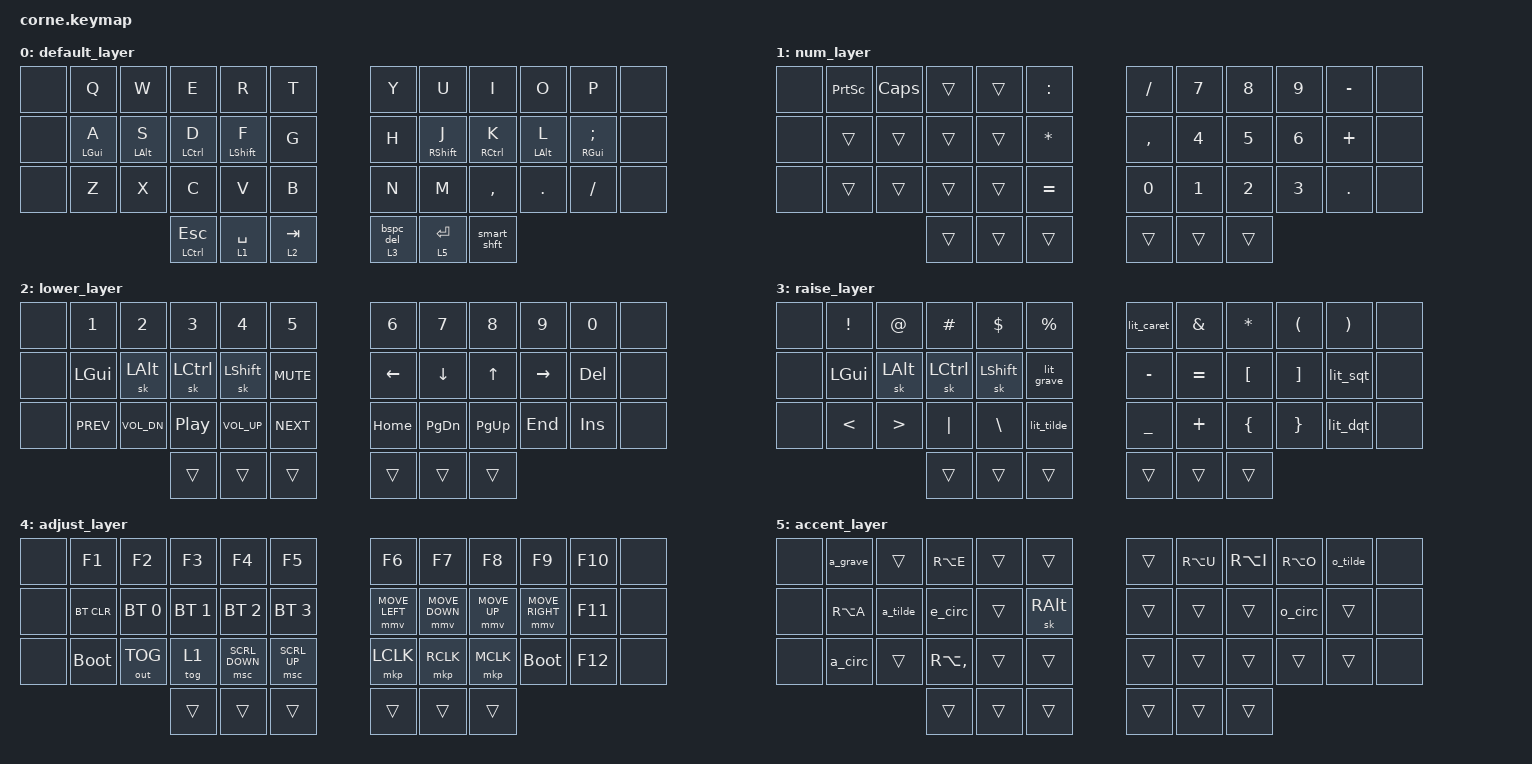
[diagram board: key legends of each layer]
/*
 * Copyright (c) 2020 The ZMK Contributors
 *
 * SPDX-License-Identifier: MIT
 *
 * Corne with 42 keys (3x6+3), used as 3x5+3: the outer column on each side is
 * bound to &none on every layer, so those six keys do nothing.
 *
 * Host OS layout: US International (dead keys). The ACC layer and the "literal"
 * symbols on RAISE depend on it.
 *
 * Key positions (the ones in parentheses are the unused outer columns):
 *   ( 0)  1  2  3  4  5      6  7  8  9 10 (11)
 *   (12) 13 14 15 16 17     18 19 20 21 22 (23)
 *   (24) 25 26 27 28 29     30 31 32 33 34 (35)
 *                36 37 38     39 40 41
 *
 * The layer diagrams below leave the outer columns out.
 *
 * Layers:
 *   0 BASE    alphas, home-row mods, dual-function thumbs
 *   1 NUM     numpad on the right hand            (hold SPACE, or lock from ADJUST)
 *   2 LOWER   numbers, navigation, media          (hold left inner thumb)
 *   3 RAISE   symbols                             (hold right inner thumb)
 *   4 ADJUST  F-keys, Bluetooth, mouse, system    (hold LOWER + RAISE)
 *   5 ACC     Portuguese accents and cedilla      (hold ENTER)
 *
 * NUM is numbered below LOWER/RAISE so those still work while NUM is locked.
 *
 * This file uses no preprocessor macros and the stock 42-key Corne layout on
 * purpose, so it can be opened in nickcoutsos' Keymap Editor as is.
 */

#include <behaviors.dtsi>
#include <dt-bindings/zmk/bt.h>
#include <dt-bindings/zmk/keys.h>
#include <dt-bindings/zmk/outputs.h>
#include <dt-bindings/zmk/pointing.h>

/ {
    behaviors {
        // Home-row mods ("timeless" setup from the ZMK docs). A mod only triggers
        // together with a key of the other hand or a thumb, and never while typing
        // fast, so same-hand rolls stay plain letters.
        hml: home_row_mod_left {
            compatible = "zmk,behavior-hold-tap";
            #binding-cells = <2>;
            flavor = "balanced";
            tapping-term-ms = <280>;
            quick-tap-ms = <175>;
            require-prior-idle-ms = <150>;
            bindings = <&kp>, <&kp>;
            hold-trigger-key-positions = <6 7 8 9 10 18 19 20 21 22 30 31 32 33 34 36 37 38 39 40 41>;
            hold-trigger-on-release;
        };

        hmr: home_row_mod_right {
            compatible = "zmk,behavior-hold-tap";
            #binding-cells = <2>;
            flavor = "balanced";
            tapping-term-ms = <280>;
            quick-tap-ms = <175>;
            require-prior-idle-ms = <150>;
            bindings = <&kp>, <&kp>;
            hold-trigger-key-positions = <1 2 3 4 5 13 14 15 16 17 25 26 27 28 29 36 37 38 39 40 41>;
            hold-trigger-on-release;
        };

        // Thumb layer-tap for TAB/LOWER and BSPC/RAISE: becomes the layer once
        // another key is pressed and released while the thumb is still down.
        lt_bal: layer_tap_balanced {
            compatible = "zmk,behavior-hold-tap";
            #binding-cells = <2>;
            flavor = "balanced";
            tapping-term-ms = <200>;
            quick-tap-ms = <175>;
            bindings = <&mo>, <&kp>;
        };

        // Backspace that becomes Delete while shift is active. Shift is masked, so
        // the host gets a plain Delete (Shift+Delete would be "cut" on Windows).
        bspc_del: backspace_delete {
            compatible = "zmk,behavior-mod-morph";
            #binding-cells = <0>;
            bindings = <&kp BSPC>, <&kp DEL>;
            mods = <(MOD_LSFT|MOD_RSFT)>;
        };

        // BSPC/RAISE thumb: same timing as lt_bal, but the tap is bspc_del. The
        // second parameter is ignored because bspc_del takes none.
        lt_bspc: layer_tap_backspace {
            compatible = "zmk,behavior-hold-tap";
            #binding-cells = <2>;
            flavor = "balanced";
            tapping-term-ms = <200>;
            quick-tap-ms = <175>;
            bindings = <&mo>, <&bspc_del>;
        };

        // ENTER/ACC: any key pressed while the thumb is down gives the accent, so a
        // sloppy release can never send a stray ENTER in the middle of a word.
        lt_hold: layer_tap_hold_preferred {
            compatible = "zmk,behavior-hold-tap";
            #binding-cells = <2>;
            flavor = "hold-preferred";
            tapping-term-ms = <200>;
            quick-tap-ms = <175>;
            bindings = <&mo>, <&kp>;
        };

        // SPACE/NUM: only becomes the layer after being held for the full term, and
        // is always a plain space while typing.
        lt_tap: layer_tap_tap_preferred {
            compatible = "zmk,behavior-hold-tap";
            #binding-cells = <2>;
            flavor = "tap-preferred";
            tapping-term-ms = <200>;
            quick-tap-ms = <175>;
            require-prior-idle-ms = <150>;
            bindings = <&mo>, <&kp>;
        };

        // ESC/CTRL thumb.
        mt_bal: mod_tap_balanced {
            compatible = "zmk,behavior-hold-tap";
            #binding-cells = <2>;
            flavor = "balanced";
            tapping-term-ms = <200>;
            quick-tap-ms = <175>;
            bindings = <&kp>, <&kp>;
        };

        // Shift thumb: tap = shift for the next key only, hold = normal shift,
        // tap twice = caps word.
        smart_shft: smart_shift {
            compatible = "zmk,behavior-mod-morph";
            #binding-cells = <0>;
            bindings = <&sk LSHFT>, <&caps_word>;
            mods = <(MOD_LSFT|MOD_RSFT)>;
        };

        // Accented vowels built from a dead key: lowercase macro normally, uppercase
        // macro while shift is active.
        a_tilde: a_tilde {
            compatible = "zmk,behavior-mod-morph";
            #binding-cells = <0>;
            bindings = <&a_tilde_lower>, <&a_tilde_upper>;
            mods = <(MOD_LSFT|MOD_RSFT)>;
        };

        o_tilde: o_tilde {
            compatible = "zmk,behavior-mod-morph";
            #binding-cells = <0>;
            bindings = <&o_tilde_lower>, <&o_tilde_upper>;
            mods = <(MOD_LSFT|MOD_RSFT)>;
        };

        a_circ: a_circ {
            compatible = "zmk,behavior-mod-morph";
            #binding-cells = <0>;
            bindings = <&a_circ_lower>, <&a_circ_upper>;
            mods = <(MOD_LSFT|MOD_RSFT)>;
        };

        e_circ: e_circ {
            compatible = "zmk,behavior-mod-morph";
            #binding-cells = <0>;
            bindings = <&e_circ_lower>, <&e_circ_upper>;
            mods = <(MOD_LSFT|MOD_RSFT)>;
        };

        o_circ: o_circ {
            compatible = "zmk,behavior-mod-morph";
            #binding-cells = <0>;
            bindings = <&o_circ_lower>, <&o_circ_upper>;
            mods = <(MOD_LSFT|MOD_RSFT)>;
        };

        a_grave: a_grave {
            compatible = "zmk,behavior-mod-morph";
            #binding-cells = <0>;
            bindings = <&a_grave_lower>, <&a_grave_upper>;
            mods = <(MOD_LSFT|MOD_RSFT)>;
        };
    };

    macros {
        // On US International ' " ` ~ ^ are dead keys: they wait for the next key.
        // These send "dead key + space", which prints the bare symbol at once. They
        // are used on RAISE. On a host layout without dead keys, replace them there
        // with plain &kp SQT, &kp DQT, &kp GRAVE, &kp TILDE and &kp CARET.
        lit_sqt: lit_sqt {
            compatible = "zmk,behavior-macro";
            #binding-cells = <0>;
            wait-ms = <5>;
            tap-ms = <10>;
            bindings = <&kp SQT &kp SPACE>;
        };

        lit_dqt: lit_dqt {
            compatible = "zmk,behavior-macro";
            #binding-cells = <0>;
            wait-ms = <5>;
            tap-ms = <10>;
            bindings = <&kp DQT &kp SPACE>;
        };

        lit_grave: lit_grave {
            compatible = "zmk,behavior-macro";
            #binding-cells = <0>;
            wait-ms = <5>;
            tap-ms = <10>;
            bindings = <&kp GRAVE &kp SPACE>;
        };

        lit_tilde: lit_tilde {
            compatible = "zmk,behavior-macro";
            #binding-cells = <0>;
            wait-ms = <5>;
            tap-ms = <10>;
            bindings = <&kp TILDE &kp SPACE>;
        };

        lit_caret: lit_caret {
            compatible = "zmk,behavior-macro";
            #binding-cells = <0>;
            wait-ms = <5>;
            tap-ms = <10>;
            bindings = <&kp CARET &kp SPACE>;
        };

        // Dead key + vowel = accented vowel (lowercase and uppercase), for the ACC layer.
        a_tilde_lower: a_tilde_lower {
            compatible = "zmk,behavior-macro";
            #binding-cells = <0>;
            wait-ms = <5>;
            tap-ms = <10>;
            bindings = <&kp TILDE &kp A>;
        };

        a_tilde_upper: a_tilde_upper {
            compatible = "zmk,behavior-macro";
            #binding-cells = <0>;
            wait-ms = <5>;
            tap-ms = <10>;
            bindings = <&kp TILDE &kp LS(A)>;
        };

        o_tilde_lower: o_tilde_lower {
            compatible = "zmk,behavior-macro";
            #binding-cells = <0>;
            wait-ms = <5>;
            tap-ms = <10>;
            bindings = <&kp TILDE &kp O>;
        };

        o_tilde_upper: o_tilde_upper {
            compatible = "zmk,behavior-macro";
            #binding-cells = <0>;
            wait-ms = <5>;
            tap-ms = <10>;
            bindings = <&kp TILDE &kp LS(O)>;
        };

        a_circ_lower: a_circ_lower {
            compatible = "zmk,behavior-macro";
            #binding-cells = <0>;
            wait-ms = <5>;
            tap-ms = <10>;
            bindings = <&kp CARET &kp A>;
        };

        a_circ_upper: a_circ_upper {
            compatible = "zmk,behavior-macro";
            #binding-cells = <0>;
            wait-ms = <5>;
            tap-ms = <10>;
            bindings = <&kp CARET &kp LS(A)>;
        };

        e_circ_lower: e_circ_lower {
            compatible = "zmk,behavior-macro";
            #binding-cells = <0>;
            wait-ms = <5>;
            tap-ms = <10>;
            bindings = <&kp CARET &kp E>;
        };

        e_circ_upper: e_circ_upper {
            compatible = "zmk,behavior-macro";
            #binding-cells = <0>;
            wait-ms = <5>;
            tap-ms = <10>;
            bindings = <&kp CARET &kp LS(E)>;
        };

        o_circ_lower: o_circ_lower {
            compatible = "zmk,behavior-macro";
            #binding-cells = <0>;
            wait-ms = <5>;
            tap-ms = <10>;
            bindings = <&kp CARET &kp O>;
        };

        o_circ_upper: o_circ_upper {
            compatible = "zmk,behavior-macro";
            #binding-cells = <0>;
            wait-ms = <5>;
            tap-ms = <10>;
            bindings = <&kp CARET &kp LS(O)>;
        };

        a_grave_lower: a_grave_lower {
            compatible = "zmk,behavior-macro";
            #binding-cells = <0>;
            wait-ms = <5>;
            tap-ms = <10>;
            bindings = <&kp GRAVE &kp A>;
        };

        a_grave_upper: a_grave_upper {
            compatible = "zmk,behavior-macro";
            #binding-cells = <0>;
            wait-ms = <5>;
            tap-ms = <10>;
            bindings = <&kp GRAVE &kp LS(A)>;
        };
    };

    combos {
        compatible = "zmk,combos";

        // One-handed editing: bottom-row key + B.
        combo_undo  { bindings = <&kp LC(Z)>; key-positions = <25 29>; layers = <0 1>; };
        combo_cut   { bindings = <&kp LC(X)>; key-positions = <26 29>; layers = <0 1>; };
        combo_copy  { bindings = <&kp LC(C)>; key-positions = <27 29>; layers = <0 1>; };
        combo_paste { bindings = <&kp LC(V)>; key-positions = <28 29>; layers = <0 1>; };
    };

    conditional_layers {
        compatible = "zmk,conditional-layers";

        adjust {
            if-layers = <2 3>;
            then-layer = <4>;
        };
    };

    keymap {
        compatible = "zmk,keymap";

        default_layer {
            // |  Q  |  W  |  E  |  R  |  T  |   |  Y  |  U  |  I  |  O  |  P  |
            // | A/G | S/A | D/C | F/S |  G  |   |  H  | J/S | K/C | L/A | ;/G |
            // |  Z  |  X  |  C  |  V  |  B  |   |  N  |  M  |  ,  |  .  |  /  |
            //      | ESC/CTL | SPC/NUM | TAB/LWR |   | BSPC/RSE | ENT/ACC | SHIFT |
            //
            // Combos: Z+B=undo  X+B=cut  C+B=copy  V+B=paste

            bindings = <
&none  &kp Q        &kp W        &kp E         &kp R         &kp T        &kp Y    &kp U         &kp I         &kp O        &kp P  &none
&none  &hml LGUI A  &hml LALT S  &hml LCTRL D  &hml LSHFT F  &kp G        &kp H    &hmr RSHFT J  &hmr RCTRL K  &hmr LALT L  &hmr RGUI SEMI  &none
&none  &kp Z        &kp X        &kp C         &kp V         &kp B        &kp N    &kp M         &kp COMMA     &kp DOT      &kp FSLH  &none
                     &mt_bal LCTRL ESC  &lt_tap 1 SPACE  &lt_bal 2 TAB      &lt_bspc 3 0  &lt_hold 5 ENTER  &smart_shft
            >;
        };

        num_layer {
            // |PSCR |CAPS |     |     |  :  |   |  /  |  7  |  8  |  9  |  -  |
            // |     |     |     |     |  *  |   |  ,  |  4  |  5  |  6  |  +  |
            // |     |     |     |     |  =  |   |  0  |  1  |  2  |  3  |  .  |
            //
            // The left home row stays transparent, so home-row mods work with numbers.

            bindings = <
&none  &kp PSCRN  &kp CAPS  &trans  &trans  &kp COLON    &kp FSLH   &kp N7  &kp N8  &kp N9  &kp MINUS  &none
&none  &trans     &trans    &trans  &trans  &kp ASTRK    &kp COMMA  &kp N4  &kp N5  &kp N6  &kp PLUS  &none
&none  &trans     &trans    &trans  &trans  &kp EQUAL    &kp N0     &kp N1  &kp N2  &kp N3  &kp DOT  &none
                                  &trans  &trans  &trans    &trans  &trans  &trans
            >;
        };

        lower_layer {
            // |  1  |  2  |  3  |  4  |  5  |   |  6  |  7  |  8  |  9  |  0  |
            // | GUI | ALT | CTL | SHF |MUTE |   | LFT | DWN |  UP | RGT | DEL |
            // | PRV | V-  |PLAY | V+  | NXT |   | HOM |PGDN |PGUP | END | INS |
            //
            // GUI is a plain key here so tapping it opens the Start menu.

            bindings = <
&none  &kp N1      &kp N2        &kp N3     &kp N4        &kp N5        &kp N6    &kp N7     &kp N8     &kp N9     &kp N0  &none
&none  &kp LGUI    &sk LALT      &sk LCTRL  &sk LSHFT     &kp C_MUTE    &kp LEFT  &kp DOWN   &kp UP     &kp RIGHT  &kp DEL  &none
&none  &kp C_PREV  &kp C_VOL_DN  &kp C_PP   &kp C_VOL_UP  &kp C_NEXT    &kp HOME  &kp PG_DN  &kp PG_UP  &kp END    &kp INS  &none
                                          &trans  &trans  &trans        &trans  &trans  &trans
            >;
        };

        raise_layer {
            // |  !  |  @  |  #  |  $  |  %  |   |  ^  |  &  |  *  |  (  |  )  |
            // | GUI | ALT | CTL | SHF |  `  |   |  -  |  =  |  [  |  ]  |  '  |
            // |  <  |  >  |  |  |  \  |  ~  |   |  _  |  +  |  {  |  }  |  "  |

            bindings = <
&none  &kp EXCL  &kp AT    &kp HASH   &kp DLLR   &kp PRCNT    &lit_caret   &kp AMPS   &kp ASTRK  &kp LPAR  &kp RPAR  &none
&none  &kp LGUI  &sk LALT  &sk LCTRL  &sk LSHFT  &lit_grave   &kp MINUS  &kp EQUAL  &kp LBKT   &kp RBKT  &lit_sqt  &none
&none  &kp LT    &kp GT    &kp PIPE   &kp BSLH   &lit_tilde   &kp UNDER  &kp PLUS   &kp LBRC   &kp RBRC  &lit_dqt  &none
                                    &trans  &trans  &trans    &trans  &trans  &trans
            >;
        };

        adjust_layer {
            // | F1  | F2  | F3  | F4  | F5  |   | F6  | F7  | F8  | F9  | F10 |
            // |BTCLR| BT1 | BT2 | BT3 | BT4 |   | M←  | M↓  | M↑  | M→  | F11 |
            // |BOOT |USB/B|NUM⇄ | WH↓ | WH↑ |   |LCLK |RCLK |MCLK |BOOT | F12 |
            //
            // BOOT puts the half it is on into bootloader mode. USB/B toggles the
            // output between USB and Bluetooth. NUM⇄ locks/unlocks the NUM layer.

            bindings = <
&none  &kp F1       &kp F2        &kp F3        &kp F4          &kp F5          &kp F6          &kp F7          &kp F8        &kp F9           &kp F10  &none
&none  &bt BT_CLR   &bt BT_SEL 0  &bt BT_SEL 1  &bt BT_SEL 2    &bt BT_SEL 3    &mmv MOVE_LEFT  &mmv MOVE_DOWN  &mmv MOVE_UP  &mmv MOVE_RIGHT  &kp F11  &none
&none  &bootloader  &out OUT_TOG  &tog 1        &msc SCRL_DOWN  &msc SCRL_UP    &mkp LCLK       &mkp RCLK       &mkp MCLK     &bootloader      &kp F12  &none
                                                &trans  &trans  &trans          &trans  &trans  &trans
            >;
        };

        accent_layer {
            // |  à  |     |  é  |     |     |   |     |  ú  |  í  |  ó  |  õ  |
            // |  á  |  ã  |  ê  |     |ALTGR|   |     |     |     |  ô  |     |
            // |  â  |     |  ç  |     |     |   |     |     |     |     |     |
            //
            // Vowel key = acute. Key below the vowel = circumflex. Key to the right
            // of the vowel = tilde. Q (above A) = grave. C = cedilla.
            // With shift (tapped first, or held) they come out uppercase. ALTGR is
            // sticky: it applies to the next key, for anything else on the
            // US International AltGr level.

            bindings = <
&none  &a_grave   &trans    &kp RA(E)      &trans  &trans      &trans  &kp RA(U)  &kp RA(I)  &kp RA(O)  &o_tilde  &none
&none  &kp RA(A)  &a_tilde  &e_circ        &trans  &sk RALT    &trans  &trans     &trans     &o_circ    &trans  &none
&none  &a_circ    &trans    &kp RA(COMMA)  &trans  &trans      &trans  &trans     &trans     &trans     &trans  &none
                                     &trans  &trans  &trans    &trans  &trans  &trans
            >;
        };
    };
};

// Release a sticky mod as soon as the next key goes down, so fast typing after a
// one-shot shift capitalizes only one letter.
&sk {
    quick-release;
};
